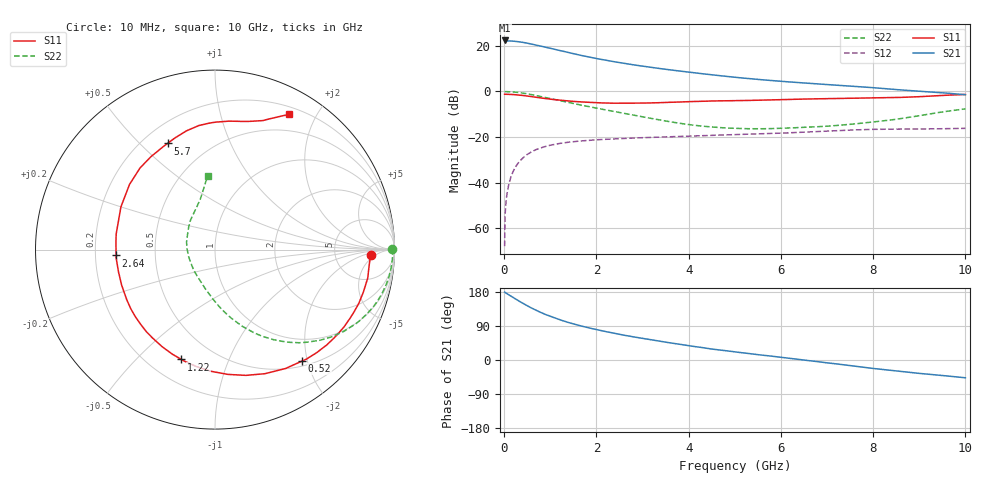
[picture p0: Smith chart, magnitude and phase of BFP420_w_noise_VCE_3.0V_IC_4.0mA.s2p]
! Infineon Technologies  Discrete & RF Semiconductors
! BFP420
! VCE =  3.0 V,  IC =  4.0 mA
! Common Emitter S-Parameters:  Jan 2016
# GHz  S  MA  R  50
!  f  S11  S21  S12  S22
! GHz  MAG  ANG  MAG  ANG  MAG  ANG  MAG  ANG
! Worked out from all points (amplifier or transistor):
!   233 points, 10 MHz to 10 GHz, reference 50 ohm
!   highest |S21| = 22.4 dB at 10 MHz (marker M1)
!   |S21| within 3 dB of that: start of sweep to 905.7 MHz
!   unconditionally stable (mu >= 1): start of sweep to 10.21 MHz; 3.217 GHz to end of sweep
!   at 200 MHz: K = 0.07, MSG = 28.5 dB, |S12| = -34.9 dB
!   at 1.74 GHz: K = 0.53, MSG = 18.6 dB, |S12| = -21.6 dB
!   at 10 GHz: K = 1.14, MAG = 5.1 dB, |S12| = -16.2 dB
!   lowest NFmin = 0.61 dB at 900 MHz
!   S11 on the Smith chart (normalised r, x): 10 MHz: 13, -3; 520 MHz: 0.58, -1.91; 1.22 GHz: 0.33, -0.69; 2.64 GHz: 0.29, -0.03; 5.7 GHz: 0.30, +0.61; 10 GHz: 0.29, +1.65
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0.01  0.8679 -1.9  13.18 179.2  0.0004 48.4  0.9889 0.2
0.02  0.8667 -2.2  12.85 178.5  0.0019 86.3  0.9901 -1.1
0.03  0.8654 -3.1  12.86 177.6  0.0028 85.1  0.9899 -1.7
0.105  0.8648 -11.0  12.89 171.8  0.0095 83.7  0.9863 -6.2
0.2  0.8553 -20.6  12.72 164.6  0.0179 78.6  0.9729 -11.7
0.34  0.8298 -34.8  12.25 154.2  0.0296 71.6  0.9396 -19.5
0.52  0.7883 -51.9  11.39 141.9  0.0425 63.0  0.8793 -28.6
0.68  0.7488 -66.3  10.55 131.9  0.0521 56.3  0.8188 -35.9
0.8  0.7216 -76.2  9.883 125.2  0.058 52.0  0.7728 -40.8
1  0.6784 -91.8  8.854 115.1  0.066 45.8  0.6983 -48.0
1.22  0.6402 -107.0  7.821 105.7  0.0726 40.3  0.624 -54.6
1.4  0.6163 -118.4  7.095 98.7  0.0769 36.5  0.5703 -59.5
1.68  0.5884 -134.0  6.156 89.4  0.0821 31.9  0.4984 -66.0
2.2  0.5576 -158.5  4.853 75.0  0.0892 25.4  0.3937 -76.5
2.64  0.5521 -176.6  4.079 64.6  0.0934 21.3  0.3234 -85.0
3.4  0.5687 158.6  3.16 49.2  0.0996 16.2  0.2337 -101.3
4.1  0.6011 140.6  2.585 36.0  0.1055 12.4  0.1818 -121.2
5.1  0.6304 123.1  2.003 20.0  0.1135 7.7  0.1535 -152.8
5.7  0.6478 114.1  1.767 11.5  0.1185 5.2  0.152 -171.8
6.8  0.6897 99.7  1.464 -4.4  0.1317 0.0  0.1682 157.8
8.4  0.7309 77.7  1.12 -27.7  0.1483 -12.6  0.2377 119.2
10  0.8591 61.2  0.848 -46.9  0.1549 -21.6  0.4146 95.7
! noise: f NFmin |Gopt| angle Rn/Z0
0.9  0.61  0.27  32  0.16
1.8  1.03  0.14  83  0.13
2.4  1.11  0.17  110  0.14
3  1.23  0.2  153  0.11
4  1.42  0.31  -151  0.11
5  1.77  0.38  -123  0.23
6  2.35  0.47  -104  0.33
